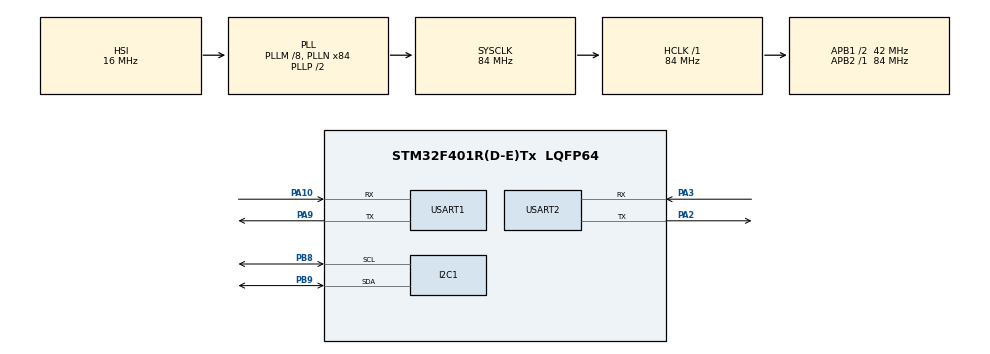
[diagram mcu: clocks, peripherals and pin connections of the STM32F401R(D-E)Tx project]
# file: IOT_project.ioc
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Mcu.Family=STM32F4
Mcu.Name=STM32F401R(D-E)Tx
Mcu.Package=LQFP64
NVIC.PriorityGroup=NVIC_PRIORITYGROUP_4
NVIC.USART1_IRQn=true\:0\:0\:false\:false\:true\:true\:true\:true
NVIC.USART2_IRQn=true\:0\:0\:false\:false\:true\:true\:true\:true
PA10.Mode=Asynchronous
PA10.Signal=USART1_RX
PA13.Mode=Serial_Wire
PA13.Signal=SYS_JTMS-SWDIO
PA14.Mode=Serial_Wire
PA14.Signal=SYS_JTCK-SWCLK
PA2.Mode=Asynchronous
PA2.Signal=USART2_TX
PA3.Mode=Asynchronous
PA3.Signal=USART2_RX
PA9.Mode=Asynchronous
PA9.Signal=USART1_TX
PB8.GPIO_Pu=GPIO_PULLUP
PB8.Mode=I2C
PB8.Signal=I2C1_SCL
PB9.GPIO_Pu=GPIO_PULLUP
PB9.Mode=I2C
PB9.Signal=I2C1_SDA
PH0\ -\ OSC_IN.Mode=HSE-External-Clock-Source
PH0\ -\ OSC_IN.Signal=RCC_OSC_IN
PH1\ -\ OSC_OUT.Mode=HSE-External-Clock-Source
PH1\ -\ OSC_OUT.Signal=RCC_OSC_OUT
ProjectManager.HeapSize=0x200
ProjectManager.StackSize=0x400
ProjectManager.TargetToolchain=MDK-ARM V5.32
RCC.48MHZClocksFreq_Value=42000000
RCC.AHBFreq_Value=84000000
RCC.APB1CLKDivider=RCC_HCLK_DIV2
RCC.APB1Freq_Value=42000000
RCC.APB1TimFreq_Value=84000000
RCC.APB2Freq_Value=84000000
RCC.APB2TimFreq_Value=84000000
RCC.CortexFreq_Value=84000000
RCC.HCLKFreq_Value=84000000
RCC.HSE_VALUE=25000000
RCC.HSI_VALUE=16000000
RCC.LSE_VALUE=32768
RCC.PLLM=8
RCC.PLLN=84
RCC.SYSCLKFreq_VALUE=84000000
RCC.SYSCLKSource=RCC_SYSCLKSOURCE_PLLCLK
RCC.VCOOutputFreq_Value=168000000
USART1.VirtualMode=VM_ASYNC
USART2.VirtualMode=VM_ASYNC
board=custom

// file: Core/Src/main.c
/* USER CODE BEGIN Header */
/**
  ******************************************************************************
  * @file           : main.c
  * @brief          : Main program body
  ******************************************************************************
  * @attention
  *
  * Copyright (c) 2026 STMicroelectronics.
  * All rights reserved.
  *
  * This software is licensed under terms that can be found in the LICENSE file
  * in the root directory of this software component.
  * If no LICENSE file comes with this software, it is provided AS-IS.
  *
  ******************************************************************************
  */
/* USER CODE END Header */
#include "main.h"
#include "bme280.h"
#include "ESPLib.h"
#if defined(__has_include)
# if __has_include("wifi_config.h")
#  include "wifi_config.h"
# endif
#endif
#ifndef WIFI_SSID
#define WIFI_SSID "YOUR_WIFI_SSID"
#define WIFI_PASSWORD "YOUR_WIFI_PASSWORD"
#endif
#include <string.h>
#include <stdio.h>
#include <stdint.h>

I2C_HandleTypeDef hi2c1;

UART_HandleTypeDef huart1;
UART_HandleTypeDef huart2;

/* USER CODE BEGIN PV */
struct bme280_dev bme280;
struct bme280_data sensor_data;
struct bme280_settings settings;
MQTT_InitTypeDef_t mqttConfig;

char mqttMessage[100];
char mqttTopic[] = "fiot/25011102113/cat14/environment";

uint8_t bme280_address;
int8_t rslt;

char msg[150];
/* USER CODE END PV */

void SystemClock_Config(void);
static void MX_GPIO_Init(void);
static void MX_I2C1_Init(void);
static void MX_USART2_UART_Init(void);
static void MX_USART1_UART_Init(void);
/* USER CODE BEGIN PFP */
static void BME280_Init(void);
static int BME280_ReadData(void);
void Terminal_Print(char *message);
static BME280_INTF_RET_TYPE BME280_I2C_Read(
    uint8_t reg_addr,
    uint8_t *reg_data,
    uint32_t len,
    void *intf_ptr
);

static BME280_INTF_RET_TYPE BME280_I2C_Write(
    uint8_t reg_addr,
    const uint8_t *reg_data,
    uint32_t len,
    void *intf_ptr
);

static void BME280_Delay(uint32_t period, void *intf_ptr);
/* USER CODE END PFP */

/* USER CODE BEGIN 0 */
		static BME280_INTF_RET_TYPE BME280_I2C_Read(
    uint8_t reg_addr,
    uint8_t *reg_data,
    uint32_t len,
    void *intf_ptr)
{
    uint8_t address = *(uint8_t *)intf_ptr;

    if (HAL_I2C_Mem_Read(
        &hi2c1,
        address << 1,
        reg_addr,
        I2C_MEMADD_SIZE_8BIT,
        reg_data,
        (uint16_t)len,
        100) == HAL_OK)
    {
        return BME280_INTF_RET_SUCCESS;
    }

    return BME280_E_COMM_FAIL;
}

static BME280_INTF_RET_TYPE BME280_I2C_Write(
    uint8_t reg_addr,
    const uint8_t *reg_data,
    uint32_t len,
    void *intf_ptr)
{
    uint8_t address = *(uint8_t *)intf_ptr;

    if (HAL_I2C_Mem_Write(
        &hi2c1,
        address << 1,
        reg_addr,
        I2C_MEMADD_SIZE_8BIT,
        (uint8_t *)reg_data,
        (uint16_t)len,
        100) == HAL_OK)
    {
        return BME280_INTF_RET_SUCCESS;
    }

    return BME280_E_COMM_FAIL;
}

static void BME280_Delay(uint32_t period, void *intf_ptr)
{
    (void)intf_ptr;

    HAL_Delay((period + 999U) / 1000U);
}

static void BME280_Init(void)
{
    memset(&bme280, 0, sizeof(bme280));

    /* Configure I2C interface */

    bme280.intf_ptr = &bme280_address;
    bme280.intf = BME280_I2C_INTF;

    bme280.read = BME280_I2C_Read;
    bme280.write = BME280_I2C_Write;
    bme280.delay_us = BME280_Delay;

    /* Initialize sensor */

    rslt = bme280_init(&bme280);

    if (rslt != BME280_OK)
    {
        Terminal_Print("BME280 initialization failed!\r\n");
        Error_Handler();
    }

    Terminal_Print("BME280 initialized successfully!\r\n");

    /* Configure sensor settings */

    settings.osr_t = BME280_OVERSAMPLING_1X;
    settings.osr_p = BME280_OVERSAMPLING_1X;
    settings.osr_h = BME280_OVERSAMPLING_1X;

    settings.filter = BME280_FILTER_COEFF_OFF;
    settings.standby_time = BME280_STANDBY_TIME_1000_MS;

    rslt = bme280_set_sensor_settings(
        BME280_SEL_OSR_PRESS |
        BME280_SEL_OSR_TEMP |
        BME280_SEL_OSR_HUM |
        BME280_SEL_FILTER |
        BME280_SEL_STANDBY,
        &settings,
        &bme280
    );

    if (rslt != BME280_OK)
    {
        Terminal_Print("Sensor settings error!\r\n");
        Error_Handler();
    }

    /* Set normal operating mode */

    rslt = bme280_set_sensor_mode(
        BME280_POWERMODE_NORMAL,
        &bme280
    );

    if (rslt != BME280_OK)
    {
        Terminal_Print("Sensor mode error!\r\n");
        Error_Handler();
    }

    Terminal_Print("BME280 ready to measure!\r\n");
}

static int BME280_ReadData(void)
{
    rslt = bme280_get_sensor_data(
        BME280_ALL,
        &sensor_data,
        &bme280
    );

    if (rslt == BME280_OK)
    {
        sprintf(
            msg,
            "\r\n"
            "-----------------------------\r\n"
            "Temperature : %.2f C\r\n"
            "Pressure    : %.2f hPa\r\n"
            "Humidity    : %.2f %%RH\r\n"
            "-----------------------------\r\n",
            sensor_data.temperature,
            sensor_data.pressure / 100.0,
            sensor_data.humidity
        );

        Terminal_Print(msg);
        return 1;
    }
    else
    {
        Terminal_Print("Sensor reading failed!\r\n");
        return 0;
    }
}
void Terminal_Print(char *message)
{
    HAL_UART_Transmit(&huart2,
                      (uint8_t *)message,
                      strlen(message),
                      HAL_MAX_DELAY);
}
/* USER CODE END 0 */

int main(void)
{

  /* MCU Configuration--------------------------------------------------------*/

  /* Reset of all peripherals, Initializes the Flash interface and the Systick. */
  HAL_Init();

  /* Configure the system clock */
  SystemClock_Config();

  /* Initialize all configured peripherals */
  MX_GPIO_Init();
  MX_I2C1_Init();
  MX_USART2_UART_Init();
  MX_USART1_UART_Init();
  /* USER CODE BEGIN 2 */

Terminal_Print("\r\n");
Terminal_Print("==============================\r\n");
Terminal_Print("   STM32 BME280 MONITOR\r\n");
Terminal_Print("==============================\r\n");

/* Detect BME280 address */

if (HAL_I2C_IsDeviceReady(
    &hi2c1,
    0x76 << 1,
    3,
    100) == HAL_OK)
{
    bme280_address = 0x76;
}
else if (HAL_I2C_IsDeviceReady(
    &hi2c1,
    0x77 << 1,
    3,
    100) == HAL_OK)
{
    bme280_address = 0x77;
}
else
{
    Terminal_Print("BME280 NOT DETECTED!\r\n");
    Error_Handler();
}

/* Initialize sensor */

BME280_Init();

HAL_Delay(1100);
/* Initialize ESP8266 using USART1 */

funcState_t espStatus;

espStatus = ESP8266_Init(StationMode, &huart1);

if (espStatus == funcOk)
{
    Terminal_Print("ESP8266 initialized successfully!\r\n");
}
else
{
    Terminal_Print("ESP8266 initialization failed!\r\n");
    Error_Handler();
}
/* Connect ESP8266 to Wi-Fi */

if (ESP8266_wifiConnect(WIFI_SSID, WIFI_PASSWORD) == funcOk)
{
    Terminal_Print("Wi-Fi connected successfully!\r\n");
}
else
{
    Terminal_Print("Wi-Fi connection failed!\r\n");
    Error_Handler();
}
/* Connect to MQTT broker */

if (ESP8266_portConnect("TCP", "broker.emqx.io", "1883") == funcOk)
{
    Terminal_Print("MQTT broker TCP connection successful!\r\n");
}
else
{
    Terminal_Print("MQTT broker connection failed!\r\n");
    Error_Handler();
}

/* Configure MQTT client */

mqttConfig.clientID = "FIoT_25011102113_CAT14";
mqttConfig.username = NULL;
mqttConfig.password = NULL;
mqttConfig.keepAlive = 60;
mqttConfig.connectFlag = CleanSession;

/* Send MQTT CONNECT packet */

if (MQTT_connectBroker(&mqttConfig) != funcOk) {
    Terminal_Print("MQTT CONNACK failed!\r\n");
    Error_Handler();
}

HAL_Delay(1000);

Terminal_Print("MQTT connection acknowledged!\r\n");
  /* USER CODE END 2 */

  /* Infinite loop */
  /* USER CODE BEGIN WHILE */
 while (1)
{
    if (!BME280_ReadData()) { HAL_Delay(5000); continue; }

    int payload_size = snprintf(mqttMessage, sizeof(mqttMessage),
            "{\"temperature\":%.2f,\"pressure\":%.2f,\"humidity\":%.2f}",
            sensor_data.temperature,
            sensor_data.pressure / 100.0,
            sensor_data.humidity);

    if (payload_size < 0 || (size_t)payload_size >= sizeof(mqttMessage)) {
        Terminal_Print("Payload too large; sample discarded.\r\n");
    } else if (MQTT_publishTopic(mqttTopic, mqttMessage, QoS0) != funcOk) {
        Terminal_Print("MQTT transport failed; reset after checking network.\r\n");
        Error_Handler();
    } else {
        Terminal_Print("MQTT frame accepted by ESP8266 (QoS 0).\r\n");
    }

    HAL_Delay(5000);
}
  /* USER CODE END 3 */
}

void SystemClock_Config(void)
{
  RCC_OscInitTypeDef RCC_OscInitStruct = {0};
  RCC_ClkInitTypeDef RCC_ClkInitStruct = {0};

  /** Configure the main internal regulator output voltage
  */
  __HAL_RCC_PWR_CLK_ENABLE();
  __HAL_PWR_VOLTAGESCALING_CONFIG(PWR_REGULATOR_VOLTAGE_SCALE2);

  /** Initializes the RCC Oscillators according to the specified parameters
  * in the RCC_OscInitTypeDef structure.
  */
  RCC_OscInitStruct.OscillatorType = RCC_OSCILLATORTYPE_HSI;
  RCC_OscInitStruct.HSIState = RCC_HSI_ON;
  RCC_OscInitStruct.HSICalibrationValue = RCC_HSICALIBRATION_DEFAULT;
  RCC_OscInitStruct.PLL.PLLState = RCC_PLL_ON;
  RCC_OscInitStruct.PLL.PLLSource = RCC_PLLSOURCE_HSI;
  RCC_OscInitStruct.PLL.PLLM = 8;
  RCC_OscInitStruct.PLL.PLLN = 84;
  RCC_OscInitStruct.PLL.PLLP = RCC_PLLP_DIV2;
  RCC_OscInitStruct.PLL.PLLQ = 4;
  if (HAL_RCC_OscConfig(&RCC_OscInitStruct) != HAL_OK)
  {
    Error_Handler();
  }

  /** Initializes the CPU, AHB and APB buses clocks
  */
  RCC_ClkInitStruct.ClockType = RCC_CLOCKTYPE_HCLK|RCC_CLOCKTYPE_SYSCLK
                              |RCC_CLOCKTYPE_PCLK1|RCC_CLOCKTYPE_PCLK2;
  RCC_ClkInitStruct.SYSCLKSource = RCC_SYSCLKSOURCE_PLLCLK;
  RCC_ClkInitStruct.AHBCLKDivider = RCC_SYSCLK_DIV1;
  RCC_ClkInitStruct.APB1CLKDivider = RCC_HCLK_DIV2;
  RCC_ClkInitStruct.APB2CLKDivider = RCC_HCLK_DIV1;

  if (HAL_RCC_ClockConfig(&RCC_ClkInitStruct, FLASH_LATENCY_2) != HAL_OK)
  {
    Error_Handler();
  }
}

static void MX_I2C1_Init(void)
{

  hi2c1.Instance = I2C1;
  hi2c1.Init.ClockSpeed = 100000;
  hi2c1.Init.DutyCycle = I2C_DUTYCYCLE_2;
  hi2c1.Init.OwnAddress1 = 0;
  hi2c1.Init.AddressingMode = I2C_ADDRESSINGMODE_7BIT;
  hi2c1.Init.DualAddressMode = I2C_DUALADDRESS_DISABLE;
  hi2c1.Init.OwnAddress2 = 0;
  hi2c1.Init.GeneralCallMode = I2C_GENERALCALL_DISABLE;
  hi2c1.Init.NoStretchMode = I2C_NOSTRETCH_DISABLE;
  if (HAL_I2C_Init(&hi2c1) != HAL_OK)
  {
    Error_Handler();
  }

}

static void MX_USART1_UART_Init(void)
{

  huart1.Instance = USART1;
  huart1.Init.BaudRate = 115200;
  huart1.Init.WordLength = UART_WORDLENGTH_8B;
  huart1.Init.StopBits = UART_STOPBITS_1;
  huart1.Init.Parity = UART_PARITY_NONE;
  huart1.Init.Mode = UART_MODE_TX_RX;
  huart1.Init.HwFlowCtl = UART_HWCONTROL_NONE;
  huart1.Init.OverSampling = UART_OVERSAMPLING_16;
  if (HAL_UART_Init(&huart1) != HAL_OK)
  {
    Error_Handler();
  }

}

static void MX_USART2_UART_Init(void)
{

  huart2.Instance = USART2;
  huart2.Init.BaudRate = 115200;
  huart2.Init.WordLength = UART_WORDLENGTH_8B;
  huart2.Init.StopBits = UART_STOPBITS_1;
  huart2.Init.Parity = UART_PARITY_NONE;
  huart2.Init.Mode = UART_MODE_TX_RX;
  huart2.Init.HwFlowCtl = UART_HWCONTROL_NONE;
  huart2.Init.OverSampling = UART_OVERSAMPLING_16;
  if (HAL_UART_Init(&huart2) != HAL_OK)
  {
    Error_Handler();
  }

}

static void MX_GPIO_Init(void)
{

  /* GPIO Ports Clock Enable */
  __HAL_RCC_GPIOH_CLK_ENABLE();
  __HAL_RCC_GPIOA_CLK_ENABLE();
  __HAL_RCC_GPIOB_CLK_ENABLE();

}

void Error_Handler(void)
{
  __disable_irq();
  while (1)
  {
  }
}
